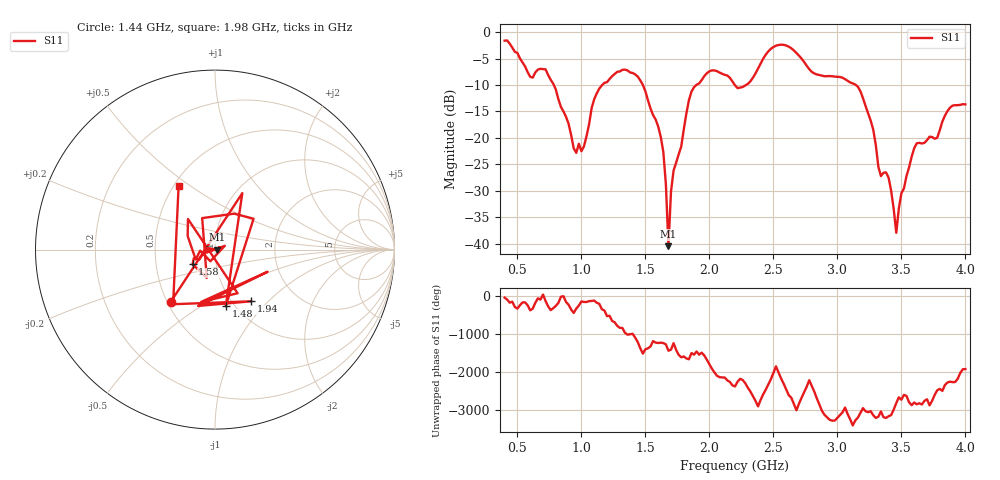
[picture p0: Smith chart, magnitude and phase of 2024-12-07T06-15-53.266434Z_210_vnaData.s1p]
!Created with skrf (http://scikit-rf.org).
# Hz S RI R 50.0
!freq ReS11 ImS11
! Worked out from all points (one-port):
!   181 points, 400 MHz to 4 GHz, reference 50 ohm
!   lowest |S11| = -40.4 dB at 1.68 GHz (marker M1), VSWR 1.02, Z = 51 - j0.0281 ohm
!   |S11| at or under -10 dB: 784.4 MHz to 1.163 GHz (378.2 MHz wide, 38.8 % of centre); 1.481 GHz to 1.898 GHz (417.2 MHz wide, 24.7 % of centre); 3.144 GHz to end of sweep (the widest 3 of 4)
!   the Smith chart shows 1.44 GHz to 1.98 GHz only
!   S11 on the Smith chart (normalised r, x): 1.44 GHz: 0.52, -0.35; 1.48 GHz: 0.92, -0.64; 1.58 GHz: 0.77, -0.13; 1.94 GHz: 1.22, -0.80; 1.98 GHz: 0.53, +0.45
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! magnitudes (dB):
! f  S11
! 400 MHz  -1.6
! 600 MHz  -8.5
! 720 MHz  -7.0
! 860 MHz  -15.0
! 1 GHz  -22.5
! 1.12 GHz  -11.6
! 1.3 GHz  -7.4
! 1.44 GHz  -8.4
! 1.48 GHz  -10.0
! 1.58 GHz  -16.5
! 1.64 GHz  -22.7
! 1.68 GHz  -40.4
! 1.7 GHz  -30.1
! 1.76 GHz  -23.1
! 1.86 GHz  -11.3
! 1.94 GHz  -9.1
! 1.98 GHz  -7.8
! 2.2 GHz  -10.1
! 2.5 GHz  -2.8
! 2.66 GHz  -3.5
! 3.1 GHz  -9.5
! 3.26 GHz  -16.7
! 3.34 GHz  -27.2
! 3.4 GHz  -27.5
! 3.46 GHz  -37.9
! 3.56 GHz  -25.6
! 3.62 GHz  -21.0
! 4 GHz  -13.7
